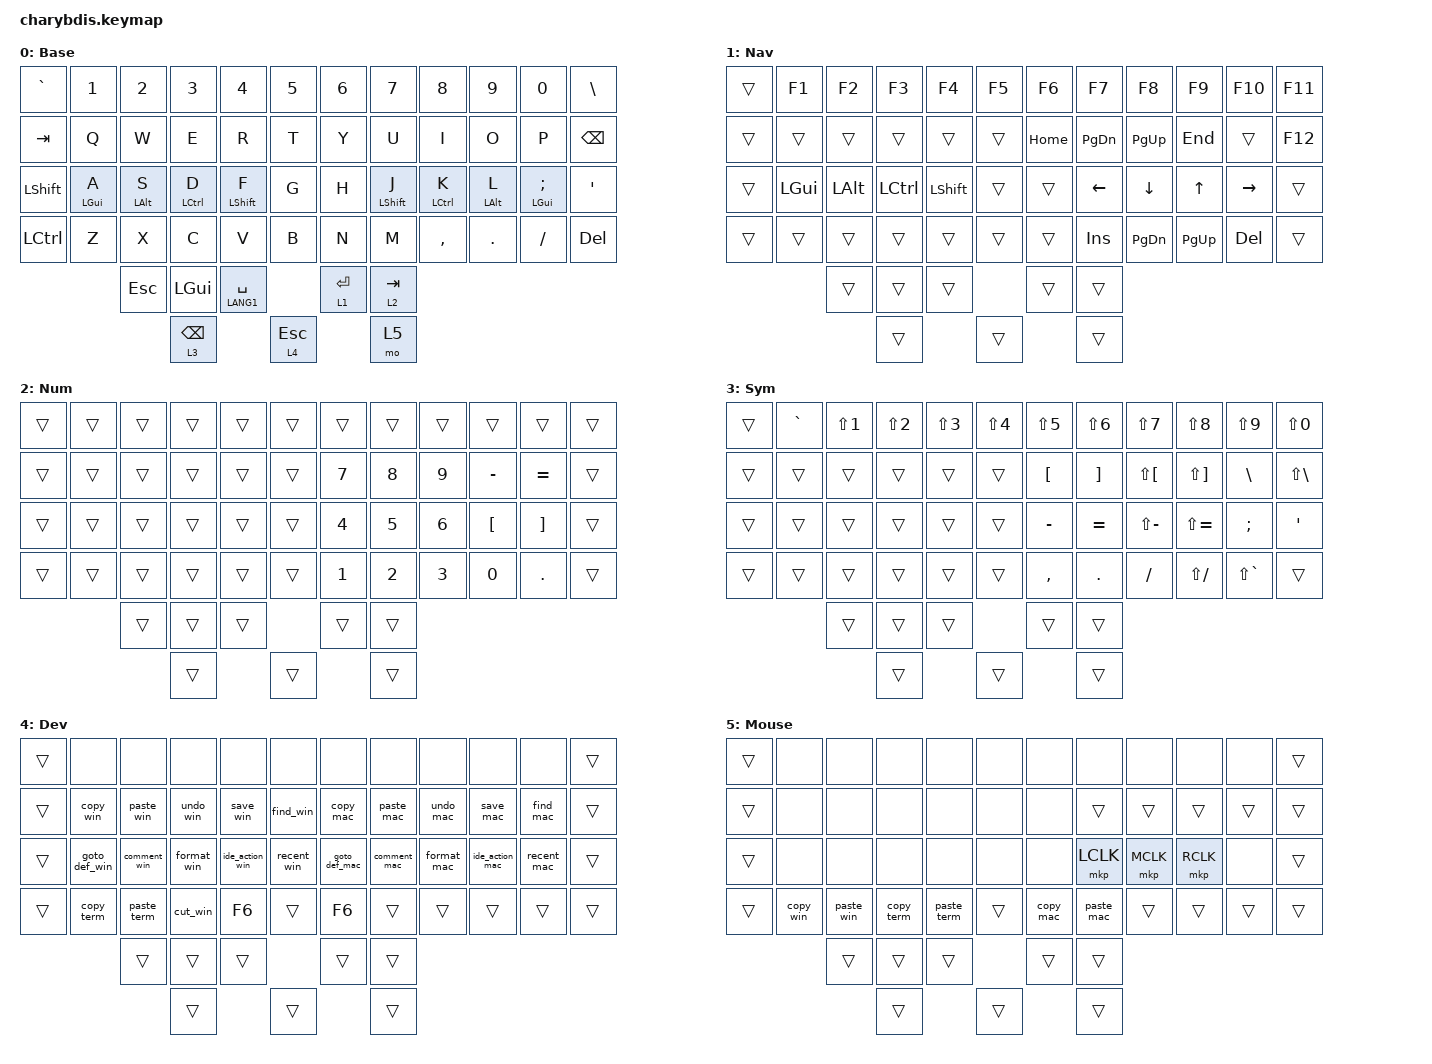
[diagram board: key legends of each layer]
#include <behaviors.dtsi>
#include <dt-bindings/zmk/keys.h>
#include <dt-bindings/zmk/bt.h>
#include <dt-bindings/zmk/mouse.h>

/ {
    behaviors {
        lang_spc: lang_space {
            compatible = "zmk,behavior-hold-tap";
            label = "LANG_SPACE";
            #binding-cells = <2>;
            flavor = "balanced";
            tapping-term-ms = <200>;
            quick-tap-ms = <150>;
            bindings = <&kp>, <&kp>;
        };

        nav_ent: nav_enter {
            compatible = "zmk,behavior-hold-tap";
            label = "NAV_ENTER";
            #binding-cells = <2>;
            flavor = "tap-preferred";
            tapping-term-ms = <200>;
            quick-tap-ms = <150>;
            bindings = <&mo>, <&kp>;
        };

        num_tab: num_tab {
            compatible = "zmk,behavior-hold-tap";
            label = "NUM_TAB";
            #binding-cells = <2>;
            flavor = "tap-preferred";
            tapping-term-ms = <200>;
            quick-tap-ms = <150>;
            bindings = <&mo>, <&kp>;
        };

        sym_bsp: sym_bsp {
            compatible = "zmk,behavior-hold-tap";
            label = "SYM_BSP";
            #binding-cells = <2>;
            flavor = "tap-preferred";
            tapping-term-ms = <200>;
            quick-tap-ms = <150>;
            bindings = <&mo>, <&kp>;
        };

        dev_esc: dev_esc {
            compatible = "zmk,behavior-hold-tap";
            label = "DEV_ESC";
            #binding-cells = <2>;
            flavor = "tap-preferred";
            tapping-term-ms = <200>;
            quick-tap-ms = <150>;
            bindings = <&mo>, <&kp>;
        };
    };

    macros {
        copy_win: copy_win {
            compatible = "zmk,behavior-macro";
            label = "COPY_WIN";
            #binding-cells = <0>;
            wait-ms = <10>;
            tap-ms = <10>;
            bindings
                = <&macro_press &kp LCTRL>
                , <&macro_tap &kp C>
                , <&macro_release &kp LCTRL>;
        };

        paste_win: paste_win {
            compatible = "zmk,behavior-macro";
            label = "PASTE_WIN";
            #binding-cells = <0>;
            wait-ms = <10>;
            tap-ms = <10>;
            bindings
                = <&macro_press &kp LCTRL>
                , <&macro_tap &kp V>
                , <&macro_release &kp LCTRL>;
        };

        cut_win: cut_win {
            compatible = "zmk,behavior-macro";
            label = "CUT_WIN";
            #binding-cells = <0>;
            wait-ms = <10>;
            tap-ms = <10>;
            bindings
                = <&macro_press &kp LCTRL>
                , <&macro_tap &kp X>
                , <&macro_release &kp LCTRL>;
        };

        undo_win: undo_win {
            compatible = "zmk,behavior-macro";
            label = "UNDO_WIN";
            #binding-cells = <0>;
            wait-ms = <10>;
            tap-ms = <10>;
            bindings
                = <&macro_press &kp LCTRL>
                , <&macro_tap &kp Z>
                , <&macro_release &kp LCTRL>;
        };

        save_win: save_win {
            compatible = "zmk,behavior-macro";
            label = "SAVE_WIN";
            #binding-cells = <0>;
            wait-ms = <10>;
            tap-ms = <10>;
            bindings
                = <&macro_press &kp LCTRL>
                , <&macro_tap &kp S>
                , <&macro_release &kp LCTRL>;
        };

        find_win: find_win {
            compatible = "zmk,behavior-macro";
            label = "FIND_WIN";
            #binding-cells = <0>;
            wait-ms = <10>;
            tap-ms = <10>;
            bindings
                = <&macro_press &kp LCTRL>
                , <&macro_tap &kp F>
                , <&macro_release &kp LCTRL>;
        };

        goto_def_win: goto_def_win {
            compatible = "zmk,behavior-macro";
            label = "GOTO_DEF_WIN";
            #binding-cells = <0>;
            wait-ms = <10>;
            tap-ms = <10>;
            bindings
                = <&macro_press &kp LCTRL>
                , <&macro_tap &kp B>
                , <&macro_release &kp LCTRL>;
        };

        comment_win: comment_win {
            compatible = "zmk,behavior-macro";
            label = "COMMENT_WIN";
            #binding-cells = <0>;
            wait-ms = <10>;
            tap-ms = <10>;
            bindings
                = <&macro_press &kp LCTRL>
                , <&macro_tap &kp SLASH>
                , <&macro_release &kp LCTRL>;
        };

        format_win: format_win {
            compatible = "zmk,behavior-macro";
            label = "FORMAT_WIN";
            #binding-cells = <0>;
            wait-ms = <10>;
            tap-ms = <10>;
            bindings
                = <&macro_press &kp LCTRL>
                , <&macro_press &kp LALT>
                , <&macro_tap &kp L>
                , <&macro_release &kp LALT>
                , <&macro_release &kp LCTRL>;
        };

        ide_action_win: ide_action_win {
            compatible = "zmk,behavior-macro";
            label = "IDE_ACTION_WIN";
            #binding-cells = <0>;
            wait-ms = <10>;
            tap-ms = <10>;
            bindings
                = <&macro_press &kp LCTRL>
                , <&macro_press &kp LSHFT>
                , <&macro_tap &kp A>
                , <&macro_release &kp LSHFT>
                , <&macro_release &kp LCTRL>;
        };

        recent_win: recent_win {
            compatible = "zmk,behavior-macro";
            label = "RECENT_WIN";
            #binding-cells = <0>;
            wait-ms = <10>;
            tap-ms = <10>;
            bindings
                = <&macro_press &kp LCTRL>
                , <&macro_tap &kp E>
                , <&macro_release &kp LCTRL>;
        };

        copy_mac: copy_mac {
            compatible = "zmk,behavior-macro";
            label = "COPY_MAC";
            #binding-cells = <0>;
            wait-ms = <10>;
            tap-ms = <10>;
            bindings
                = <&macro_press &kp LGUI>
                , <&macro_tap &kp C>
                , <&macro_release &kp LGUI>;
        };

        paste_mac: paste_mac {
            compatible = "zmk,behavior-macro";
            label = "PASTE_MAC";
            #binding-cells = <0>;
            wait-ms = <10>;
            tap-ms = <10>;
            bindings
                = <&macro_press &kp LGUI>
                , <&macro_tap &kp V>
                , <&macro_release &kp LGUI>;
        };

        cut_mac: cut_mac {
            compatible = "zmk,behavior-macro";
            label = "CUT_MAC";
            #binding-cells = <0>;
            wait-ms = <10>;
            tap-ms = <10>;
            bindings
                = <&macro_press &kp LGUI>
                , <&macro_tap &kp X>
                , <&macro_release &kp LGUI>;
        };

        undo_mac: undo_mac {
            compatible = "zmk,behavior-macro";
            label = "UNDO_MAC";
            #binding-cells = <0>;
            wait-ms = <10>;
            tap-ms = <10>;
            bindings
                = <&macro_press &kp LGUI>
                , <&macro_tap &kp Z>
                , <&macro_release &kp LGUI>;
        };

        save_mac: save_mac {
            compatible = "zmk,behavior-macro";
            label = "SAVE_MAC";
            #binding-cells = <0>;
            wait-ms = <10>;
            tap-ms = <10>;
            bindings
                = <&macro_press &kp LGUI>
                , <&macro_tap &kp S>
                , <&macro_release &kp LGUI>;
        };

        find_mac: find_mac {
            compatible = "zmk,behavior-macro";
            label = "FIND_MAC";
            #binding-cells = <0>;
            wait-ms = <10>;
            tap-ms = <10>;
            bindings
                = <&macro_press &kp LGUI>
                , <&macro_tap &kp F>
                , <&macro_release &kp LGUI>;
        };

        goto_def_mac: goto_def_mac {
            compatible = "zmk,behavior-macro";
            label = "GOTO_DEF_MAC";
            #binding-cells = <0>;
            wait-ms = <10>;
            tap-ms = <10>;
            bindings
                = <&macro_press &kp LGUI>
                , <&macro_tap &kp B>
                , <&macro_release &kp LGUI>;
        };

        comment_mac: comment_mac {
            compatible = "zmk,behavior-macro";
            label = "COMMENT_MAC";
            #binding-cells = <0>;
            wait-ms = <10>;
            tap-ms = <10>;
            bindings
                = <&macro_press &kp LGUI>
                , <&macro_tap &kp SLASH>
                , <&macro_release &kp LGUI>;
        };

        format_mac: format_mac {
            compatible = "zmk,behavior-macro";
            label = "FORMAT_MAC";
            #binding-cells = <0>;
            wait-ms = <10>;
            tap-ms = <10>;
            bindings
                = <&macro_press &kp LGUI>
                , <&macro_press &kp LALT>
                , <&macro_tap &kp L>
                , <&macro_release &kp LALT>
                , <&macro_release &kp LGUI>;
        };

        ide_action_mac: ide_action_mac {
            compatible = "zmk,behavior-macro";
            label = "IDE_ACTION_MAC";
            #binding-cells = <0>;
            wait-ms = <10>;
            tap-ms = <10>;
            bindings
                = <&macro_press &kp LGUI>
                , <&macro_press &kp LSHFT>
                , <&macro_tap &kp A>
                , <&macro_release &kp LSHFT>
                , <&macro_release &kp LGUI>;
        };

        recent_mac: recent_mac {
            compatible = "zmk,behavior-macro";
            label = "RECENT_MAC";
            #binding-cells = <0>;
            wait-ms = <10>;
            tap-ms = <10>;
            bindings
                = <&macro_press &kp LGUI>
                , <&macro_tap &kp E>
                , <&macro_release &kp LGUI>;
        };

        copy_term: copy_term {
            compatible = "zmk,behavior-macro";
            label = "COPY_TERM";
            #binding-cells = <0>;
            wait-ms = <10>;
            tap-ms = <10>;
            bindings
                = <&macro_press &kp LCTRL>
                , <&macro_press &kp LSHFT>
                , <&macro_tap &kp C>
                , <&macro_release &kp LSHFT>
                , <&macro_release &kp LCTRL>;
        };

        paste_term: paste_term {
            compatible = "zmk,behavior-macro";
            label = "PASTE_TERM";
            #binding-cells = <0>;
            wait-ms = <10>;
            tap-ms = <10>;
            bindings
                = <&macro_press &kp LCTRL>
                , <&macro_press &kp LSHFT>
                , <&macro_tap &kp V>
                , <&macro_release &kp LSHFT>
                , <&macro_release &kp LCTRL>;
        };
    };

    keymap {
        compatible = "zmk,keymap";

        Base {
            bindings = <
                &kp GRAVE   &kp N1        &kp N2        &kp N3        &kp N4        &kp N5        &kp N6        &kp N7        &kp N8        &kp N9        &kp N0        &kp BSLH
                &kp TAB     &kp Q         &kp W         &kp E         &kp R         &kp T         &kp Y         &kp U         &kp I         &kp O         &kp P         &kp BSPC
                &kp LSHFT   &mt LGUI A    &mt LALT S    &mt LCTRL D   &mt LSHFT F   &kp G         &kp H         &mt LSHFT J   &mt LCTRL K   &mt LALT L    &mt LGUI SEMI &kp APOS
                &kp LCTRL   &kp Z         &kp X         &kp C         &kp V         &kp B         &kp N         &kp M         &kp COMMA     &kp DOT       &kp SLASH     &kp DEL
                                            &kp ESC      &kp LGUI      &lang_spc LANG1 SPACE   &nav_ent 1 ENTER   &num_tab 2 TAB
                                                          &sym_bsp 3 BSPC          &dev_esc 4 ESC            &mo 5
            >;
        };

        Nav {
            bindings = <
                &trans      &kp F1        &kp F2        &kp F3        &kp F4        &kp F5        &kp F6        &kp F7        &kp F8        &kp F9        &kp F10       &kp F11
                &trans      &trans        &trans        &trans        &trans        &trans        &kp HOME      &kp PG_DN     &kp PG_UP     &kp END       &trans        &kp F12
                &trans      &kp LGUI      &kp LALT      &kp LCTRL     &kp LSHFT     &trans        &trans        &kp LEFT      &kp DOWN      &kp UP        &kp RIGHT     &trans
                &trans      &trans        &trans        &trans        &trans        &trans        &trans        &kp INS       &kp PG_DN     &kp PG_UP     &kp DEL       &trans
                                            &trans       &trans        &trans                    &trans                    &trans
                                                          &trans                    &trans                    &trans
            >;
        };

        Num {
            bindings = <
                &trans      &trans        &trans        &trans        &trans        &trans        &trans        &trans        &trans        &trans        &trans        &trans
                &trans      &trans        &trans        &trans        &trans        &trans        &kp N7        &kp N8        &kp N9        &kp MINUS     &kp EQUAL     &trans
                &trans      &trans        &trans        &trans        &trans        &trans        &kp N4        &kp N5        &kp N6        &kp LBKT      &kp RBKT      &trans
                &trans      &trans        &trans        &trans        &trans        &trans        &kp N1        &kp N2        &kp N3        &kp N0        &kp DOT       &trans
                                            &trans       &trans        &trans                    &trans                    &trans
                                                          &trans                    &trans                    &trans
            >;
        };

        Sym {
            bindings = <
                &trans      &kp GRAVE     &kp LS(N1)    &kp LS(N2)    &kp LS(N3)    &kp LS(N4)    &kp LS(N5)    &kp LS(N6)    &kp LS(N7)    &kp LS(N8)    &kp LS(N9)    &kp LS(N0)
                &trans      &trans        &trans        &trans        &trans        &trans        &kp LBKT      &kp RBKT      &kp LS(LBKT)  &kp LS(RBKT)  &kp BSLH      &kp LS(BSLH)
                &trans      &trans        &trans        &trans        &trans        &trans        &kp MINUS     &kp EQUAL     &kp LS(MINUS) &kp LS(EQUAL) &kp SEMI      &kp APOS
                &trans      &trans        &trans        &trans        &trans        &trans        &kp COMMA     &kp DOT       &kp SLASH     &kp LS(SLASH) &kp LS(GRAVE) &trans
                                            &trans       &trans        &trans                    &trans                    &trans
                                                          &trans                    &trans                    &trans
            >;
        };

        Dev {
            bindings = <
                &trans        &none          &none          &none          &none          &none          &none           &none           &none           &none           &none           &trans
                &trans        &copy_win      &paste_win     &undo_win      &save_win      &find_win      &copy_mac       &paste_mac      &undo_mac       &save_mac       &find_mac       &trans
                &trans        &goto_def_win  &comment_win   &format_win    &ide_action_win &recent_win   &goto_def_mac   &comment_mac    &format_mac     &ide_action_mac &recent_mac     &trans
                &trans        &copy_term     &paste_term    &cut_win       &kp F6         &trans         &kp F6          &trans          &trans          &trans          &trans          &trans
                                              &trans         &trans         &trans                      &trans                       &trans
                                                            &trans                      &trans                       &trans
            >;
        };

        Mouse {
            bindings = <
                &trans      &none         &none         &none         &none         &none         &none         &none         &none         &none         &none         &trans
                &trans      &none         &none         &none         &none         &none         &none         &trans        &trans        &trans        &trans        &trans
                &trans      &none         &none         &none         &none         &none         &none         &mkp LCLK     &mkp MCLK     &mkp RCLK     &none         &trans
                &trans      &copy_win     &paste_win    &copy_term    &paste_term   &trans        &copy_mac     &paste_mac    &trans        &trans        &trans        &trans
                                            &trans       &trans        &trans                    &trans                     &trans
                                                          &trans                    &trans                     &trans
            >;
        };
    };
};
